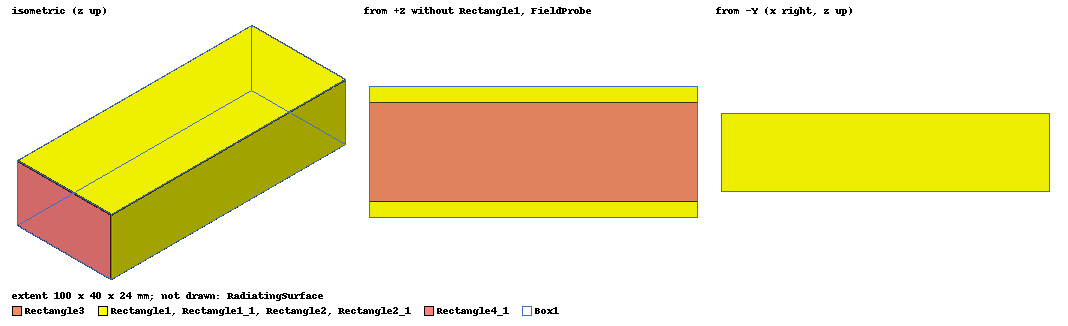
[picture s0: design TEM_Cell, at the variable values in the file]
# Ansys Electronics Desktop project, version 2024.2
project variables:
  $GndPinXxX = 1mm
  $GndPadXxX = 6mm
  $GndPinLength = 1mm
  $PinLength = 1mm
  $AntPadStep = 0.1mm
  $Diameter1 = 1.3mm
  $AntiPadDiameter = 4mm
  $GndPadHigth = 1mm
  $Diameter2 = 4.35mm
  $ConnectorHight = 4.5mm
  $Diameter3 = 5mm
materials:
  copper: permeability=0.999991 conductivity=58000000
  vacuum: permittivity=1
  FR4_epoxy: permittivity=4.4 permeability=1 dielectric_loss_tangent=0.02
  Teflon (tm): permittivity=2.1 dielectric_loss_tangent=0.001
  gold: permeability=0.99996 conductivity=41000000
  pec: conductivity=1e+30

design TEM_Cell (HFSS, HFSS Modal Network, model units mm)
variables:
  b = 12mm  # 17
  w = 30mm/2  # 27/2
  a = 20mm  # 20
  length = 100mm  # 100
  t = 0.1mm  # 0.1
  Y0 = 0mm
  Z0 = b/2
  alphaXY = 0deg
  alphaXZ = 0deg
  yOffset = 0mm
  zOffset = 0mm
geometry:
  Rectangle1 = rectangle(corner=(-length/2, -a, b), x_size=length, y_size=2*a)
  Rectangle1_1 = Rectangle1.duplicate_around_axis(axis=X, angle=180deg, total=2)
  Rectangle2 = rectangle(corner=(-length/2, -a, -b), z_size=2*b, x_size=length)
  Rectangle2_1 = Rectangle2.duplicate_around_axis(axis=X, angle=180deg, total=2)
  Rectangle3 [copper, solve inside] = rectangle(corner=(-length/2, -w, (-t/2) mm), x_size=length, y_size=2*w)
  Rectangle3.thicken(t, both sides)
  Rectangle4 = rectangle(corner=(-length/2, -a, -b), y_size=2*a, z_size=2*b)
  Rectangle4_1 = Rectangle4.duplicate_around_axis(axis=Z, angle=180deg, total=2)
  Box1 [vacuum] = box(corner=(-length/2, -a, -b), size=(length, 2*a, 2*b))
  Polyline1 [non-model] = polyline((-length/2, 0mm, t/2) (-length/2, 0mm, b))
  Polyline1_1 = Polyline1.duplicate_around_axis(axis=Z, angle=180deg, total=2)
  RadiatingSurface [vacuum] = region(absolute_offset: +X=0mm, -X=0mm, +Y=10mm, -Y=10mm, +Z=10mm, -Z=10mm)
  FieldProbe = Rectangle1.duplicate_along_line(step=(0mm, 0mm, -b/2), total=2)
  group probes = Polyline1, Polyline1_1, FieldProbe
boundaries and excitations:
  PerfE1: Perfect E Objects=[Rectangle1, Rectangle1_1, Rectangle2, Rectangle2_1]
  Open1: Radiation Objects=RadiatingSurface
  IncHDWave1: Hertzian-Dipole Incident Wave IsCartesian EoX=1*sin(alphaXY) EoY=1*cos(alphaXY) EoZ=1*sin(alphaXZ) kX=0 kY=0 kZ=1 OriginX=0mm OriginY=Y0+yOffset OriginZ=Z0+zOffset SphereRadius=0.02mm IsElectricDipole=false
  1: Wave Port Objects=Rectangle4_1 WavePortType=Modal NumModes=1 Modes{Mode1{IntLine{(50, 0, 0.05) -> (50, 0, 12)} CharImp=Zpi}}
  2: Wave Port Objects=Rectangle4 WavePortType=Modal NumModes=1 Modes{Mode1{IntLine{(-50, 0, 0.05) -> (-50, 0, 12)} CharImp=Zpi}}
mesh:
  Length1: LengthBased Objects=[Rectangle4, Rectangle4_1] MaxLength=1mm
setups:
  Setup1: HfssDriven Frequency=3GHz MaxDeltaS=0.002 MaximumPasses=10 MinimumPasses=1 MinimumConvergedPasses=1 PercentRefinement=30 BasisOrder=1 PortAccuracy=2 DrivenSolverType="Direct Solver" ExpressionCache{CacheItem{Title=dB_mag_U1__1 Expression=dB(mag(U1)) Intrinsics="Phase='0deg'" IsConvergence UseRelativeConvergence=0 MaxConvergenceDelta=1 MaxConvergeValue=2 TraceID=665 ReportType=5} CacheItem{Title=dB_mag_U2__1 Expression=dB(mag(U2)) Intrinsics="Phase='0deg'" IsConvergence UseRelativeConvergence=0 MaxConvergenceDelta=1 MaxConvergeValue=2 TraceID=668 ReportType=5}} ConstantDelta=0s
    sweep Sweep: 100kHz to 3GHz, 401 points; Type=Interpolating SaveFields InterpTolerance=0.5 InterpMaxSolns=250 InterpUsePortImped=false PassivityErrorTolerance=0.0001
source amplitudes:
  1:1: 1W 0deg
  2:1: 0W 0deg
  IncHDWave1:1: 0Vm 0deg
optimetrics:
  ParametricSetup1: Parametric Sim._Setups=[Setup1]
    sweep alphaXY: LIN 0deg 90deg 90deg
    sweep yOffset: LIN 0mm 5mm 5mm
    sweep zOffset: LIN 0mm 3mm 3mm
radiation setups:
  3D: Infinite Sphere Theta=0deg..180deg step 2deg Phi=-180deg..180deg step 2deg
  Elevation: Infinite Sphere Theta=-180deg..180deg step 1deg Phi=0deg..90deg step 90deg
  Azimuth: Infinite Sphere Theta=90deg..90deg step 0deg Phi=-180deg..180deg step 1deg
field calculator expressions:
  U1 = Fundamental_Quantity(0) | Real | Tangent | Dot | EnterLine(Polyline1) | LineValue | Integrate | CmplxR | Fundamental_Quantity(0) | Imag | Tangent | Dot | EnterLine(Polyline1) | LineValue | Integrate | CmplxI | +
  U2 = Fundamental_Quantity(0) | Real | Tangent | Dot | EnterLine(Polyline1_1) | LineValue | Integrate | CmplxR | Fundamental_Quantity(0) | Imag | Tangent | Dot | EnterLine(Polyline1_1) | LineValue | Integrate | CmplxI | +
  Ex = Fundamental_Quantity(0) | ScalarX | CmplxMag
  Ey = Fundamental_Quantity(0) | ScalarY | CmplxMag
  Ez = Fundamental_Quantity(0) | ScalarZ | CmplxMag
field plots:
  Ex1: NamedExpr over FieldProbe.face on Setup1 : LastAdaptive at Freq=3GHz Phase=0deg
  Ey1, Ez1: NamedExpr over FieldProbe.face on Setup1 : Sweep at Freq=0.001GHz Phase=0deg
  ComplexMag_E1: E Field over FieldProbe.face on Setup1 : Sweep at Freq=3GHz Phase=0deg
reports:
  Convergence: ExprCache(dB_mag_U1__1) vs Pass on Setup1 : AdaptivePass [alphaXY=all yOffset=all zOffset=all Freq=all]; ExprCache(dB_mag_U2__1) vs Pass on Setup1 : AdaptivePass [Freq=all]
  VSWR Plot 1: VSWR(1), VSWR(2) vs Freq on Setup1 : Sweep
  Imported: dB(freq*mag(U1)) vs Freq
